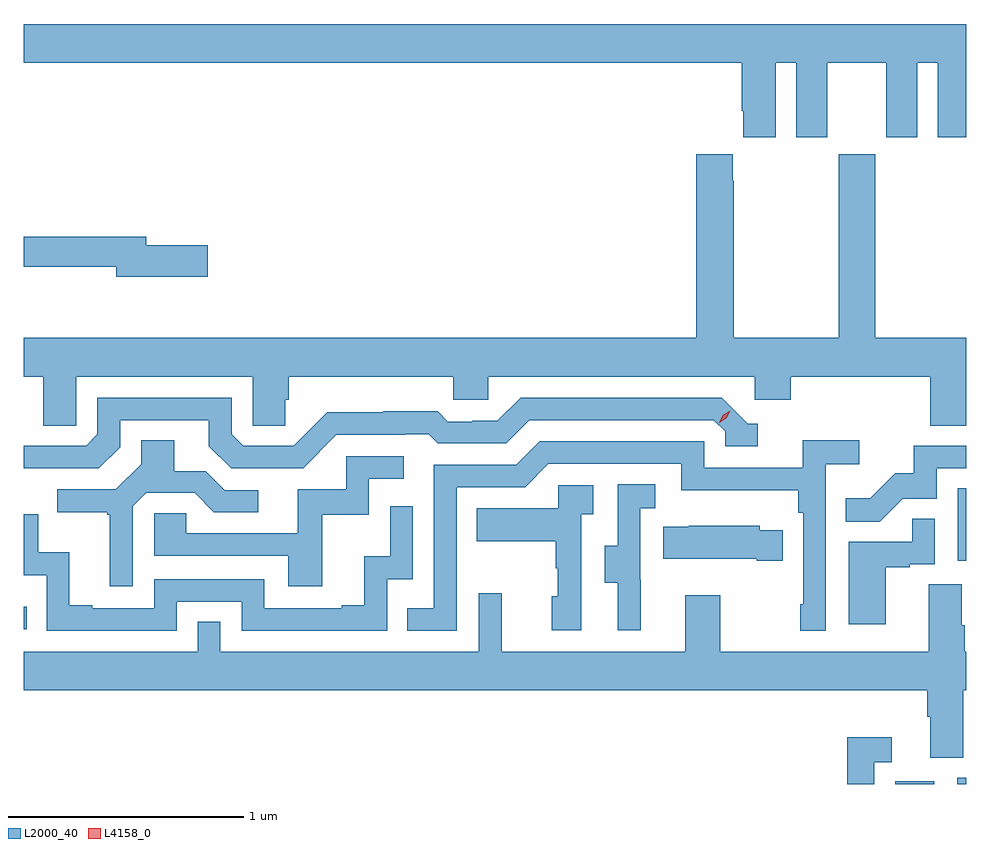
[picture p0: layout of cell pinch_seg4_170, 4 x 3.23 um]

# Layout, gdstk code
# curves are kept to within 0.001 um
import gdstk
lib = gdstk.Library(unit=1e-6, precision=1e-09)
def R(c, l, rs):  # rectangles x0, y0, x1, y1
    for r in rs: c.add(gdstk.rectangle(r[:2], r[2:], *l))
def P(c, l, *ps):  # polygons
    for p in ps: c.add(gdstk.Polygon(p, *l))
L2000_40 = (2000, 40)
L4158_0 = (4158, 0)

pinch_seg4_170 = lib.new_cell('pinch_seg4_170')
R(pinch_seg4_170, L2000_40, [(1108.82,792.427,1108.984,792.439), (1109.082,792.427,1109.121,792.453), (1105.121,793.083,1105.133,793.18), (1109.084,793.374,1109.121,793.681)])
P(pinch_seg4_170, L2000_40, [(1108.312,795.488),(1108.4,795.488),(1108.4,795.171),(1108.531,795.171),(1108.531,795.488),(1108.781,795.488),(1108.781,795.171),(1108.912,795.171),(1108.912,795.488),(1109,795.488),(1109,795.171),(1109.121,795.171),(1109.121,795.652),(1105.121,795.652),(1105.121,795.488),(1108.169,795.488),(1108.169,795.283),(1108.175,795.283),(1108.175,795.171),(1108.312,795.171)],
  [(1105.344,794.156),(1106.094,794.156),(1106.094,793.948),(1106.231,793.948),(1106.231,794.058),(1106.246,794.058),(1106.246,794.156),(1106.943,794.156),(1106.943,794.058),(1107.093,794.058),(1107.093,794.156),(1108.224,794.156),(1108.224,794.058),(1108.376,794.058),(1108.376,794.156),(1108.967,794.156),(1108.967,793.948),(1109.121,793.948),(1109.121,794.32),(1108.734,794.32),(1108.734,795.1),(1108.579,795.1),(1108.579,794.32),(1108.134,794.32),(1108.134,794.987),(1108.129,794.987),(1108.129,795.1),(1107.974,795.1),(1107.974,794.32),(1105.121,794.32),(1105.121,794.156),(1105.205,794.156),(1105.205,793.948),(1105.344,793.948)],
  [(1105.903,794.714),(1105.642,794.714),(1105.642,794.75),(1105.121,794.75),(1105.121,794.622),(1105.514,794.622),(1105.514,794.579),(1105.903,794.579)],
  [(1105.224,793.767),(1105.44,793.767),(1105.53,793.857),(1105.53,793.971),(1105.907,793.971),(1105.907,793.861),(1106.001,793.767),(1106.307,793.767),(1106.448,793.908),(1106.741,793.908),(1106.741,793.911),(1106.84,793.911),(1106.879,793.872),(1107.168,793.872),(1107.267,793.971),(1108.05,793.971),(1108.098,793.923),(1108.098,793.86),(1108.237,793.86),(1108.237,793.956),(1108.194,793.956),(1108.083,794.067),(1107.23,794.067),(1107.131,793.968),(1107.024,793.968),(1107.024,793.965),(1106.921,793.965),(1106.879,794.008),(1106.646,794.008),(1106.646,794.005),(1106.41,794.005),(1106.268,793.863),(1106.052,793.863),(1106.004,793.911),(1106.004,794.067),(1105.434,794.067),(1105.434,793.911),(1105.386,793.863),(1105.121,793.863),(1105.121,793.766)],
  [(1106.958,793.686),(1107.249,793.686),(1107.348,793.785),(1107.912,793.785),(1107.912,793.673),(1108.408,793.673),(1108.408,793.577),(1108.428,793.577),(1108.428,793.189),(1108.416,793.189),(1108.416,793.077),(1108.524,793.077),(1108.524,793.784),(1108.666,793.784),(1108.666,793.886),(1108.427,793.886),(1108.427,793.77),(1108.008,793.77),(1108.008,793.881),(1107.311,793.881),(1107.212,793.782),(1106.862,793.782),(1106.862,793.173),(1106.749,793.173),(1106.749,793.077),(1106.958,793.077)],
  [(1105.584,793.605),(1105.641,793.662),(1105.847,793.662),(1105.928,793.581),(1106.116,793.581),(1106.116,793.674),(1105.974,793.674),(1105.894,793.754),(1105.759,793.754),(1105.759,793.886),(1105.619,793.886),(1105.619,793.784),(1105.512,793.677),(1105.263,793.677),(1105.263,793.58),(1105.476,793.58),(1105.476,793.569),(1105.487,793.569),(1105.487,793.266),(1105.584,793.266)],
  [(1108.851,793.638),(1108.995,793.638),(1108.995,793.767),(1109.121,793.767),(1109.121,793.863),(1108.897,793.863),(1108.897,793.746),(1108.82,793.746),(1108.713,793.639),(1108.609,793.639),(1108.609,793.54),(1108.753,793.54)],
  [(1106.387,793.569),(1106.586,793.569),(1106.586,793.722),(1106.734,793.722),(1106.734,793.818),(1106.49,793.818),(1106.49,793.677),(1106.285,793.677),(1106.285,793.491),(1105.811,793.491),(1105.811,793.575),(1105.674,793.575),(1105.674,793.395),(1106.243,793.395),(1106.243,793.266),(1106.387,793.266)],
  [(1107.74,793.293),(1107.738,793.293),(1107.738,793.597),(1107.802,793.597),(1107.802,793.7),(1107.642,793.7),(1107.642,793.437),(1107.587,793.437),(1107.587,793.282),(1107.641,793.282),(1107.641,793.08),(1107.74,793.08)],
  [(1107.486,793.571),(1107.538,793.571),(1107.538,793.695),(1107.39,793.695),(1107.39,793.597),(1107.043,793.597),(1107.043,793.457),(1107.378,793.457),(1107.378,793.343),(1107.388,793.343),(1107.388,793.224),(1107.362,793.224),(1107.362,793.08),(1107.486,793.08)],
  [(1105.77,793.2),(1106.046,793.2),(1106.046,793.077),(1106.664,793.077),(1106.664,793.296),(1106.772,793.296),(1106.772,793.606),(1106.676,793.606),(1106.676,793.394),(1106.567,793.394),(1106.567,793.186),(1106.471,793.186),(1106.471,793.173),(1106.142,793.173),(1106.142,793.296),(1105.674,793.296),(1105.674,793.173),(1105.411,793.173),(1105.411,793.186),(1105.315,793.186),(1105.315,793.411),(1105.182,793.411),(1105.182,793.572),(1105.121,793.572),(1105.121,793.313),(1105.218,793.313),(1105.218,793.077),(1105.77,793.077)],
  [(1108.78,793.347),(1108.88,793.347),(1108.88,793.359),(1108.986,793.359),(1108.986,793.553),(1108.891,793.553),(1108.891,793.455),(1108.622,793.455),(1108.622,793.104),(1108.78,793.104)],
  [(1108.343,793.504),(1108.245,793.504),(1108.245,793.522),(1107.943,793.522),(1107.943,793.519),(1107.835,793.519),(1107.835,793.382),(1108.232,793.382),(1108.232,793.375),(1108.343,793.375)],
  [(1109.107,792.824),(1109.121,792.824),(1109.121,792.988),(1109.114,792.988),(1109.114,793.1),(1109.101,793.1),(1109.101,793.274),(1108.961,793.274),(1108.961,792.988),(1108.077,792.988),(1108.077,793.228),(1107.929,793.228),(1107.929,792.988),(1107.149,792.988),(1107.149,793.237),(1107.051,793.237),(1107.051,792.988),(1105.956,792.988),(1105.956,793.115),(1105.86,793.115),(1105.86,792.988),(1105.121,792.988),(1105.121,792.824),(1108.955,792.824),(1108.955,792.712),(1108.967,792.712),(1108.967,792.538),(1109.107,792.538)],
  [(1108.731,792.519),(1108.804,792.519),(1108.804,792.625),(1108.615,792.625),(1108.615,792.427),(1108.731,792.427)])
P(pinch_seg4_170, L4158_0, [(1108.072,793.959),(1108.072,793.959),(1108.088,793.992),(1108.119,794.011),(1108.119,794.011),(1108.119,794.01),(1108.103,793.978),(1108.072,793.959)])

lib.write_gds('pinch_seg4_170.gds')
